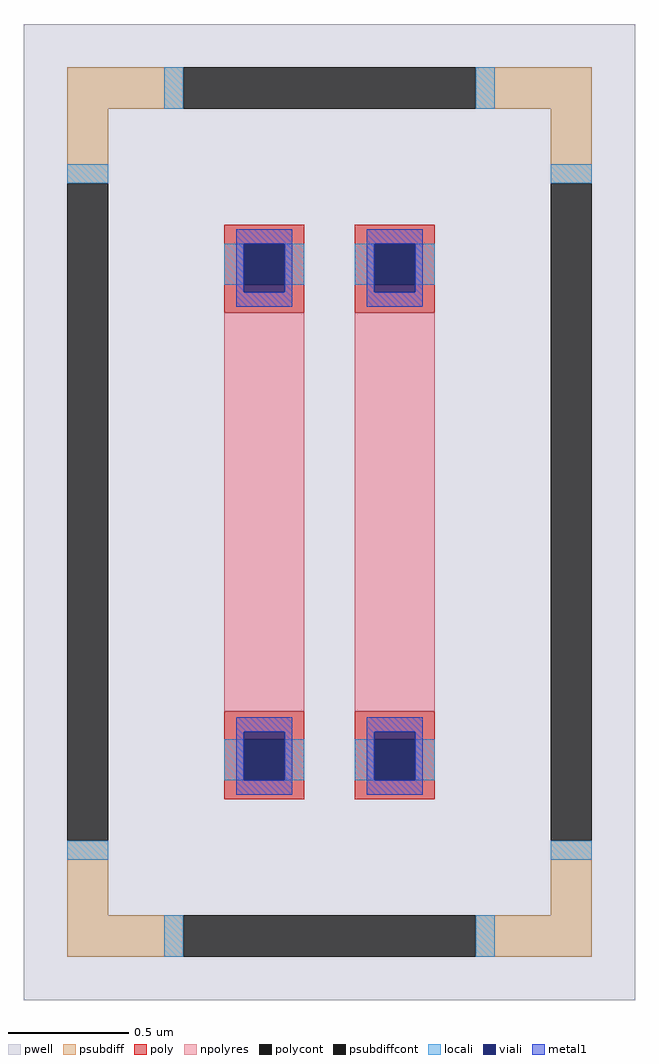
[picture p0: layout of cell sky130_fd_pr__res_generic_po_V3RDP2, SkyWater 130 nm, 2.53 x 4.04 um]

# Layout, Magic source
magic
tech sky130A
magscale 1 2
<< pwell >>
rect -253 -404 253 404
<< psubdiff >>
rect -217 334 -121 368
rect 121 334 217 368
rect -217 272 -183 334
rect 183 272 217 334
rect -217 -334 -183 -272
rect 183 -334 217 -272
rect -217 -368 -121 -334
rect 121 -368 217 -334
<< psubdiffcont >>
rect -121 334 121 368
rect -217 -272 -183 272
rect 183 -272 217 272
rect -121 -368 121 -334
<< poly >>
rect -87 222 -21 238
rect -87 188 -71 222
rect -37 188 -21 222
rect -87 165 -21 188
rect -87 -188 -21 -165
rect -87 -222 -71 -188
rect -37 -222 -21 -188
rect -87 -238 -21 -222
rect 21 222 87 238
rect 21 188 37 222
rect 71 188 87 222
rect 21 165 87 188
rect 21 -188 87 -165
rect 21 -222 37 -188
rect 71 -222 87 -188
rect 21 -238 87 -222
<< polycont >>
rect -71 188 -37 222
rect -71 -222 -37 -188
rect 37 188 71 222
rect 37 -222 71 -188
<< npolyres >>
rect -87 -165 -21 165
rect 21 -165 87 165
<< locali >>
rect -137 334 -121 368
rect 121 334 137 368
rect -217 272 -183 288
rect 183 272 217 288
rect -87 188 -71 222
rect -37 188 -21 222
rect 21 188 37 222
rect 71 188 87 222
rect -87 -222 -71 -188
rect -37 -222 -21 -188
rect 21 -222 37 -188
rect 71 -222 87 -188
rect -217 -288 -183 -272
rect 183 -288 217 -272
rect -137 -368 -121 -334
rect 121 -368 137 -334
<< viali >>
rect -71 188 -37 222
rect 37 188 71 222
rect -71 182 -37 188
rect 37 182 71 188
rect -71 -188 -37 -182
rect 37 -188 71 -182
rect -71 -222 -37 -188
rect 37 -222 71 -188
<< metal1 >>
rect -77 222 -31 234
rect -77 182 -71 222
rect -37 182 -31 222
rect -77 170 -31 182
rect 31 222 77 234
rect 31 182 37 222
rect 71 182 77 222
rect 31 170 77 182
rect -77 -182 -31 -170
rect -77 -222 -71 -182
rect -37 -222 -31 -182
rect -77 -234 -31 -222
rect 31 -182 77 -170
rect 31 -222 37 -182
rect 71 -222 77 -182
rect 31 -234 77 -222
<< properties >>
string FIXED_BBOX -200 -351 200 351
string gencell sky130_fd_pr__res_generic_po
string library sky130
string parameters w 0.330 l 1.650 m 1 nx 2 wmin 0.330 lmin 1.650 rho 48.2 val 241.0 dummy 0 dw 0.0 term 0.0 sterm 0.0 caplen 0.4 snake 0 guard 1 glc 1 grc 1 gtc 1 gbc 1 roverlap 0 endcov 100 full_metal 0 hv_guard 0 n_guard 0 vias 1 viagb 0 viagt 0 viagl 0 viagr 0
<< end >>
